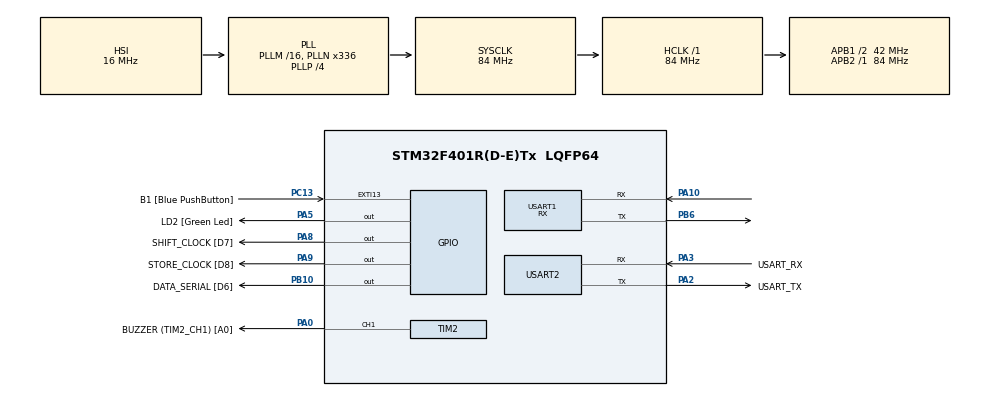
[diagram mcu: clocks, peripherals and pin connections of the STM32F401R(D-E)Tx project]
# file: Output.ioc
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Mcu.Family=STM32F4
Mcu.Name=STM32F401R(D-E)Tx
Mcu.Package=LQFP64
NVIC.PriorityGroup=NVIC_PRIORITYGROUP_0
PA0-WKUP.GPIO_Label=BUZZER (TIM2_CH1) [A0]
PA0-WKUP.Signal=S_TIM2_CH1_ETR
PA10.Mode=Asynchronous
PA10.Signal=USART1_RX
PA13.GPIO_Label=TMS
PA13.Mode=Serial_Wire
PA13.Signal=SYS_JTMS-SWDIO
PA14.GPIO_Label=TCK
PA14.Mode=Serial_Wire
PA14.Signal=SYS_JTCK-SWCLK
PA2.GPIO_Label=USART_TX
PA2.GPIO_Mode=GPIO_MODE_AF_PP
PA2.GPIO_PuPd=GPIO_NOPULL
PA2.GPIO_Speed=GPIO_SPEED_FREQ_LOW
PA2.Mode=Asynchronous
PA2.Signal=USART2_TX
PA3.GPIO_Label=USART_RX
PA3.GPIO_Mode=GPIO_MODE_AF_PP
PA3.GPIO_PuPd=GPIO_NOPULL
PA3.GPIO_Speed=GPIO_SPEED_FREQ_LOW
PA3.Mode=Asynchronous
PA3.Signal=USART2_RX
PA5.GPIO_Label=LD2 [Green Led]
PA5.GPIO_Mode=GPIO_MODE_OUTPUT_PP
PA5.GPIO_PuPd=GPIO_NOPULL
PA5.GPIO_Speed=GPIO_SPEED_FREQ_LOW
PA5.Signal=GPIO_Output
PA8.GPIO_Label=SHIFT_CLOCK [D7]
PA8.Signal=GPIO_Output
PA9.GPIO_Label=STORE_CLOCK [D8]
PA9.Signal=GPIO_Output
PB10.GPIO_Label=DATA_SERIAL [D6]
PB10.Signal=GPIO_Output
PB3.GPIO_Label=SWO
PB3.Signal=SYS_JTDO-SWO
PB6.Mode=Asynchronous
PB6.Signal=USART1_TX
PC13-ANTI_TAMP.GPIO_Label=B1 [Blue PushButton]
PC13-ANTI_TAMP.GPIO_ModeDefaultEXTI=GPIO_MODE_IT_FALLING
PC13-ANTI_TAMP.GPIO_PuPd=GPIO_NOPULL
PC13-ANTI_TAMP.Signal=GPXTI13
PC14-OSC32_IN.Mode=LSE-External-Oscillator
PC14-OSC32_IN.Signal=RCC_OSC32_IN
PC15-OSC32_OUT.Mode=LSE-External-Oscillator
PC15-OSC32_OUT.Signal=RCC_OSC32_OUT
PH0\ -\ OSC_IN.Mode=HSE-External-Clock-Source
PH0\ -\ OSC_IN.Signal=RCC_OSC_IN
PH1\ -\ OSC_OUT.Mode=HSE-External-Clock-Source
PH1\ -\ OSC_OUT.Signal=RCC_OSC_OUT
ProjectManager.HeapSize=0x200
ProjectManager.StackSize=0x400
ProjectManager.TargetToolchain=STM32CubeIDE
RCC.48MHZClocksFreq_Value=48000000
RCC.AHBFreq_Value=84000000
RCC.APB1CLKDivider=RCC_HCLK_DIV2
RCC.APB1Freq_Value=42000000
RCC.APB1TimFreq_Value=84000000
RCC.APB2Freq_Value=84000000
RCC.APB2TimFreq_Value=84000000
RCC.CortexFreq_Value=84000000
RCC.HCLKFreq_Value=84000000
RCC.HSE_VALUE=8000000
RCC.HSI_VALUE=16000000
RCC.PLLN=336
RCC.PLLP=RCC_PLLP_DIV4
RCC.PLLQ=7
RCC.SYSCLKFreq_VALUE=84000000
RCC.SYSCLKSource=RCC_SYSCLKSOURCE_PLLCLK
RCC.VCOOutputFreq_Value=336000000
SH.S_TIM2_CH1_ETR.0=TIM2_CH1,PWM Generation1 CH1
TIM1.Prescaler=84-1
TIM2.Channel-PWM\ Generation1\ CH1=TIM_CHANNEL_1
TIM2.Period=1000
TIM2.Pulse-PWM\ Generation1\ CH1=500
USART1.Mode=MODE_RX
USART1.VirtualMode=VM_ASYNC
USART2.VirtualMode=VM_ASYNC
VP_TIM1_VS_ClockSourceINT.Mode=Internal
VP_TIM2_VS_ClockSourceINT.Mode=Internal
board=NUCLEO-F401RE

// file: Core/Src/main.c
/* USER CODE BEGIN Header */
/**
  ******************************************************************************
  * @file           : main.c
  * @brief          : Main program body
  ******************************************************************************
  * @attention
  *
  * Copyright (c) 2024 STMicroelectronics.
  * All rights reserved.
  *
  * This software is licensed under terms that can be found in the LICENSE file
  * in the root directory of this software component.
  * If no LICENSE file comes with this software, it is provided AS-IS.
  *
  ******************************************************************************
  */
/* USER CODE END Header */
#include "main.h"

/* USER CODE BEGIN Includes */
#include <string.h>
#include <stdio.h>
/* USER CODE END Includes */

/* USER CODE BEGIN PD */
#define TIM2_FREQUENCY 42000000
/* USER CODE END PD */

TIM_HandleTypeDef htim1;
TIM_HandleTypeDef htim2;

UART_HandleTypeDef huart1;
UART_HandleTypeDef huart2;

void SystemClock_Config(void);
static void MX_GPIO_Init(void);
static void MX_USART2_UART_Init(void);
static void MX_TIM1_Init(void);
static void MX_TIM2_Init(void);
static void MX_USART1_UART_Init(void);
/* USER CODE BEGIN PFP */
/// Helper Function Declarations
int _write(int file, char *data, int len);
void delay_us(uint16_t us);

/// Core Functions Declarations
// - LED Matrix
void store(void);
void reset_display(void);
void shift_out(GPIO_TypeDef *data_port, uint16_t data_pin,
        	   GPIO_TypeDef *shift_port, uint16_t shift_pin,
               uint8_t bit_order, uint8_t value);
void display_pattern(uint8_t * pattern_array);
// - Buzzer
uint16_t prescaler_for_frequency(uint32_t frequency_output_Hz);
void pause_buzzer(void);
/* USER CODE END PFP */

/* USER CODE BEGIN 0 */

// Pattern Arrays
uint8_t right_arrow[] = {
              0b00001000,
              0b00001100,
              0b11111110,
              0b11111111,
              0b11111111,
              0b11111110,
              0b00001100,
              0b00001000
              };

uint8_t left_arrow[] = {
              0b00010000,
              0b00110000,
              0b01111111,
              0b11111111,
              0b11111111,
              0b01111111,
              0b00110000,
              0b00010000
              };

uint8_t down_arrow[] = {
              0b00111100,
              0b00111100,
              0b00111100,
              0b00111100,
              0b11111111,
              0b01111110,
              0b00111100,
              0b00011000
};

uint8_t checkmark[] = {
				0b00000000,
				0b00000001,
				0b00000011,
				0b00000110,
				0b10001100,
				0b11011000,
				0b01110000,
				0b00100000
};
/* USER CODE END 0 */

int main(void)
{

  /* MCU Configuration--------------------------------------------------------*/

  /* Reset of all peripherals, Initializes the Flash interface and the Systick. */
  HAL_Init();

  /* Configure the system clock */
  SystemClock_Config();

  /* Initialize all configured peripherals */
  MX_GPIO_Init();
  MX_USART2_UART_Init();
  MX_TIM1_Init();
  MX_TIM2_Init();
  MX_USART1_UART_Init();
  /* USER CODE BEGIN 2 */

  // Start Timer 1 after peripherals are initialized (for microsecond delay))
  HAL_TIM_Base_Start(&htim1);
  // Start Timer 2 in PWM mode after everything else has been initialized
  // NOTE: Make sure timer # and channel # are consistent with chosen pin's PWM config
  HAL_TIM_PWM_Start(&htim2, TIM_CHANNEL_1);

  // Variables for UART [NOTE: make sure to declare in main()])
  char condition[30];  // Set up a variable that can be modified to store data before TX/RX
  char UART1_rxBuffer[20];  // Set up a buffer string to receive data
  //// Change prescaler according to calculation based on desired frequency
  /// __HAL_TIM_SET_PRESCALER( &htim2, prescaler_for_frequency(440) );
  /// __HAL_TIM_SET_PRESCALER( &htim2, prescaler_for_frequency(784) );
  // LED Matrix Variable
  uint8_t *current_pattern = NULL;

  /* USER CODE END 2 */

  /* Infinite loop */
  /* USER CODE BEGIN WHILE */
  while (1)
  {
	/// RX
	// Clear RX buffer before receiving new data
	memset(UART1_rxBuffer, 0, 20);
	// Receive data from Input MCU (***make timeout as small as possible to avoid LED Matrix flickering)
	HAL_UART_Receive(&huart1, (uint8_t*)UART1_rxBuffer, 20, 1);
	// Package the message up in an operable variable
	strcpy(condition, UART1_rxBuffer);

	// Only run and make changes if Output MCU receives data
	if ( strcmp( condition, "" ) != 0 ) {
		// Print received data to serial console
		printf("Data Received from Input MCU: %s\r\n", UART1_rxBuffer);

		// Control the pattern displayed by LED Matrix using if statements
		if ( strcmp( condition, "Move back" ) == 0 ) {
			if ( current_pattern != down_arrow ) {
				current_pattern = down_arrow;
				__HAL_TIM_SET_PRESCALER( &htim2, prescaler_for_frequency(440) );
			}
		} else if ( strcmp( condition, "Move left" ) == 0 ) {
			if ( current_pattern != left_arrow ) {
				current_pattern = left_arrow;
				__HAL_TIM_SET_PRESCALER( &htim2, prescaler_for_frequency(784) );
			}
		} else if ( strcmp( condition, "Move right" ) == 0 ) {
			if ( current_pattern != right_arrow ) {
				current_pattern = right_arrow;
				__HAL_TIM_SET_PRESCALER( &htim2, prescaler_for_frequency(784) );
			}
		} else if ( strcmp( condition, "Success" ) == 0 ) {
			if ( current_pattern != checkmark ) {
				current_pattern = checkmark;
				pause_buzzer();
			}
		}
	}
	display_pattern(current_pattern);
    /* USER CODE END WHILE */

  }
}

void SystemClock_Config(void)
{
  RCC_OscInitTypeDef RCC_OscInitStruct = {0};
  RCC_ClkInitTypeDef RCC_ClkInitStruct = {0};

  /** Configure the main internal regulator output voltage
  */
  __HAL_RCC_PWR_CLK_ENABLE();
  __HAL_PWR_VOLTAGESCALING_CONFIG(PWR_REGULATOR_VOLTAGE_SCALE2);

  /** Initializes the RCC Oscillators according to the specified parameters
  * in the RCC_OscInitTypeDef structure.
  */
  RCC_OscInitStruct.OscillatorType = RCC_OSCILLATORTYPE_HSI;
  RCC_OscInitStruct.HSIState = RCC_HSI_ON;
  RCC_OscInitStruct.HSICalibrationValue = RCC_HSICALIBRATION_DEFAULT;
  RCC_OscInitStruct.PLL.PLLState = RCC_PLL_ON;
  RCC_OscInitStruct.PLL.PLLSource = RCC_PLLSOURCE_HSI;
  RCC_OscInitStruct.PLL.PLLM = 16;
  RCC_OscInitStruct.PLL.PLLN = 336;
  RCC_OscInitStruct.PLL.PLLP = RCC_PLLP_DIV4;
  RCC_OscInitStruct.PLL.PLLQ = 7;
  if (HAL_RCC_OscConfig(&RCC_OscInitStruct) != HAL_OK)
  {
    Error_Handler();
  }

  /** Initializes the CPU, AHB and APB buses clocks
  */
  RCC_ClkInitStruct.ClockType = RCC_CLOCKTYPE_HCLK|RCC_CLOCKTYPE_SYSCLK
                              |RCC_CLOCKTYPE_PCLK1|RCC_CLOCKTYPE_PCLK2;
  RCC_ClkInitStruct.SYSCLKSource = RCC_SYSCLKSOURCE_PLLCLK;
  RCC_ClkInitStruct.AHBCLKDivider = RCC_SYSCLK_DIV1;
  RCC_ClkInitStruct.APB1CLKDivider = RCC_HCLK_DIV2;
  RCC_ClkInitStruct.APB2CLKDivider = RCC_HCLK_DIV1;

  if (HAL_RCC_ClockConfig(&RCC_ClkInitStruct, FLASH_LATENCY_2) != HAL_OK)
  {
    Error_Handler();
  }
}

static void MX_TIM1_Init(void)
{

  TIM_ClockConfigTypeDef sClockSourceConfig = {0};
  TIM_MasterConfigTypeDef sMasterConfig = {0};

  htim1.Instance = TIM1;
  htim1.Init.Prescaler = 84-1;
  htim1.Init.CounterMode = TIM_COUNTERMODE_UP;
  htim1.Init.Period = 65535;
  htim1.Init.ClockDivision = TIM_CLOCKDIVISION_DIV1;
  htim1.Init.RepetitionCounter = 0;
  htim1.Init.AutoReloadPreload = TIM_AUTORELOAD_PRELOAD_DISABLE;
  if (HAL_TIM_Base_Init(&htim1) != HAL_OK)
  {
    Error_Handler();
  }
  sClockSourceConfig.ClockSource = TIM_CLOCKSOURCE_INTERNAL;
  if (HAL_TIM_ConfigClockSource(&htim1, &sClockSourceConfig) != HAL_OK)
  {
    Error_Handler();
  }
  sMasterConfig.MasterOutputTrigger = TIM_TRGO_RESET;
  sMasterConfig.MasterSlaveMode = TIM_MASTERSLAVEMODE_DISABLE;
  if (HAL_TIMEx_MasterConfigSynchronization(&htim1, &sMasterConfig) != HAL_OK)
  {
    Error_Handler();
  }

}

static void MX_TIM2_Init(void)
{

  TIM_ClockConfigTypeDef sClockSourceConfig = {0};
  TIM_MasterConfigTypeDef sMasterConfig = {0};
  TIM_OC_InitTypeDef sConfigOC = {0};

  htim2.Instance = TIM2;
  htim2.Init.Prescaler = 0;
  htim2.Init.CounterMode = TIM_COUNTERMODE_UP;
  htim2.Init.Period = 1000;
  htim2.Init.ClockDivision = TIM_CLOCKDIVISION_DIV1;
  htim2.Init.AutoReloadPreload = TIM_AUTORELOAD_PRELOAD_DISABLE;
  if (HAL_TIM_Base_Init(&htim2) != HAL_OK)
  {
    Error_Handler();
  }
  sClockSourceConfig.ClockSource = TIM_CLOCKSOURCE_INTERNAL;
  if (HAL_TIM_ConfigClockSource(&htim2, &sClockSourceConfig) != HAL_OK)
  {
    Error_Handler();
  }
  if (HAL_TIM_PWM_Init(&htim2) != HAL_OK)
  {
    Error_Handler();
  }
  sMasterConfig.MasterOutputTrigger = TIM_TRGO_RESET;
  sMasterConfig.MasterSlaveMode = TIM_MASTERSLAVEMODE_DISABLE;
  if (HAL_TIMEx_MasterConfigSynchronization(&htim2, &sMasterConfig) != HAL_OK)
  {
    Error_Handler();
  }
  sConfigOC.OCMode = TIM_OCMODE_PWM1;
  sConfigOC.Pulse = 500;
  sConfigOC.OCPolarity = TIM_OCPOLARITY_HIGH;
  sConfigOC.OCFastMode = TIM_OCFAST_DISABLE;
  if (HAL_TIM_PWM_ConfigChannel(&htim2, &sConfigOC, TIM_CHANNEL_1) != HAL_OK)
  {
    Error_Handler();
  }
  HAL_TIM_MspPostInit(&htim2);

}

static void MX_USART1_UART_Init(void)
{

  huart1.Instance = USART1;
  huart1.Init.BaudRate = 115200;
  huart1.Init.WordLength = UART_WORDLENGTH_8B;
  huart1.Init.StopBits = UART_STOPBITS_1;
  huart1.Init.Parity = UART_PARITY_NONE;
  huart1.Init.Mode = UART_MODE_RX;
  huart1.Init.HwFlowCtl = UART_HWCONTROL_NONE;
  huart1.Init.OverSampling = UART_OVERSAMPLING_16;
  if (HAL_UART_Init(&huart1) != HAL_OK)
  {
    Error_Handler();
  }

}

static void MX_USART2_UART_Init(void)
{

  huart2.Instance = USART2;
  huart2.Init.BaudRate = 115200;
  huart2.Init.WordLength = UART_WORDLENGTH_8B;
  huart2.Init.StopBits = UART_STOPBITS_1;
  huart2.Init.Parity = UART_PARITY_NONE;
  huart2.Init.Mode = UART_MODE_TX_RX;
  huart2.Init.HwFlowCtl = UART_HWCONTROL_NONE;
  huart2.Init.OverSampling = UART_OVERSAMPLING_16;
  if (HAL_UART_Init(&huart2) != HAL_OK)
  {
    Error_Handler();
  }

}

static void MX_GPIO_Init(void)
{
  GPIO_InitTypeDef GPIO_InitStruct = {0};

  /* GPIO Ports Clock Enable */
  __HAL_RCC_GPIOC_CLK_ENABLE();
  __HAL_RCC_GPIOH_CLK_ENABLE();
  __HAL_RCC_GPIOA_CLK_ENABLE();
  __HAL_RCC_GPIOB_CLK_ENABLE();

  /*Configure GPIO pin Output Level */
  HAL_GPIO_WritePin(GPIOA, LD2_Pin|SHIFT_CLOCK_Pin|STORE_CLOCK_Pin, GPIO_PIN_RESET);

  /*Configure GPIO pin Output Level */
  HAL_GPIO_WritePin(DATA_SERIAL_GPIO_Port, DATA_SERIAL_Pin, GPIO_PIN_RESET);

  /*Configure GPIO pin : B1_Pin */
  GPIO_InitStruct.Pin = B1_Pin;
  GPIO_InitStruct.Mode = GPIO_MODE_IT_FALLING;
  GPIO_InitStruct.Pull = GPIO_NOPULL;
  HAL_GPIO_Init(B1_GPIO_Port, &GPIO_InitStruct);

  /*Configure GPIO pins : LD2_Pin SHIFT_CLOCK_Pin STORE_CLOCK_Pin */
  GPIO_InitStruct.Pin = LD2_Pin|SHIFT_CLOCK_Pin|STORE_CLOCK_Pin;
  GPIO_InitStruct.Mode = GPIO_MODE_OUTPUT_PP;
  GPIO_InitStruct.Pull = GPIO_NOPULL;
  GPIO_InitStruct.Speed = GPIO_SPEED_FREQ_LOW;
  HAL_GPIO_Init(GPIOA, &GPIO_InitStruct);

  /*Configure GPIO pin : DATA_SERIAL_Pin */
  GPIO_InitStruct.Pin = DATA_SERIAL_Pin;
  GPIO_InitStruct.Mode = GPIO_MODE_OUTPUT_PP;
  GPIO_InitStruct.Pull = GPIO_NOPULL;
  GPIO_InitStruct.Speed = GPIO_SPEED_FREQ_LOW;
  HAL_GPIO_Init(DATA_SERIAL_GPIO_Port, &GPIO_InitStruct);

}

/* USER CODE BEGIN 4 */
/// Helper Function Definitions

// Override printf() to transmit message through UART
int _write(int file, char *data, int len) {
	HAL_UART_Transmit(&huart2, (uint8_t*)data, len, HAL_MAX_DELAY);
	return len;
}

// Create a delay in microseconds (us)
void delay_us (uint16_t time_us) {
	// Reset Timer 1 Counter to initiate new count
	__HAL_TIM_SET_COUNTER(&htim1, 0);
	// Wait for Timer 1 Counter to reach input time in us
	while(__HAL_TIM_GET_COUNTER(&htim1) < time_us);

	return;
}

/// Core Function Definitions

// Copy the shift register data to the storage register, thus providing output
void store(void) {
	HAL_GPIO_WritePin(GPIOA, GPIO_PIN_9, SET);
	delay_us(1);
	HAL_GPIO_WritePin(GPIOA, GPIO_PIN_9, RESET);
	//delay_us(1);

	return;
}

// Reset the LED Matrix; turn off all lights
void reset_display(void) {
	shift_out(GPIOB, GPIO_PIN_10,
		      GPIOA, GPIO_PIN_8,
			  1, 0b11111111);
	shift_out(GPIOB, GPIO_PIN_10,
			  GPIOA, GPIO_PIN_8,
			  1, 0b00000000);
	store();
}

// Shift out a byte of data one bit at a time
void shift_out(GPIO_TypeDef *data_port, uint16_t data_pin,
        	   GPIO_TypeDef *shift_port, uint16_t shift_pin,
               uint8_t bit_order, uint8_t value) {
	//Ensure data type of iterable is size_t to prevent overflow
	for ( size_t i = 0; i < 8; ++i ) {
		// LSBFIRST (shift least significant bit first)
		if ( bit_order == 0 ) {
			/// Check if the value in the i-th bit is 1
			//  - Use bitwise & to mask the i-th bit and check if the result is non-zero
			if ( value & (1 << i) ) {
				// Write a 1 to the serial data pin
				HAL_GPIO_WritePin(data_port, data_pin, SET);
			// i-th bit is 0
			} else {
				// Write a 0 to the serial data pin
				HAL_GPIO_WritePin(data_port, data_pin, RESET);
			}
		// MSBFIRST (shift most significant bit first))
		} else if ( bit_order == 1 ) {
			// Instead  of checking from the right, check from left to right
			if ( value & ( 1 << (7 - i) ) ) {
				HAL_GPIO_WritePin(data_port, data_pin, SET);
			} else {
				HAL_GPIO_WritePin(data_port, data_pin, RESET);
			}
		}

		// Pulse to clock pin to shift the bit out ot the shift register
		HAL_GPIO_WritePin(shift_port, shift_pin, SET);
		delay_us(1);
		HAL_GPIO_WritePin(shift_port, shift_pin, RESET);
	}
}

// Show pattern on LED matrix for an instant by method of scanning
void display_pattern(uint8_t * pattern_array) {
	for ( size_t i = 0; i < 8; ++i ) {
		/// NOTE: since sent first, stored in SR #2
		// Displays the pattern for each row
		// - Tilda (~) flips the bits; needed since columns require LOW to complete circuit
		// -> To light up an LED in a row, its bit must be 0 (LOW)
		shift_out(GPIOB, GPIO_PIN_10,
				  GPIOA, GPIO_PIN_8,
				  0, ~pattern_array[i]);
		/// NOTE: since sent last, stored in SR #2
		// Scan (turn on) through each column
		shift_out(GPIOB, GPIO_PIN_10,
				  GPIOA, GPIO_PIN_8,
				  0, 0b10000000 >> i);

		store();
	}
}

// Calculate the prescaler value depending on the desired frequency
uint16_t prescaler_for_frequency(uint32_t output_frequency_Hz) {
	if ( output_frequency_Hz == 0 ) {
		return 0;
	} else {
		// Note: "- 1" is to compensate for 1 being automatically added in the prescaler register
		return ( ( TIM2_FREQUENCY / (1000 * output_frequency_Hz) ) - 1 );
	}
}

// Pause the buzzer noise indefinitely
void pause_buzzer(void) {
	__HAL_TIM_SET_PRESCALER(&htim2, 0);
}
/* USER CODE END 4 */

void Error_Handler(void)
{
  __disable_irq();
  while (1)
  {
  }
}
